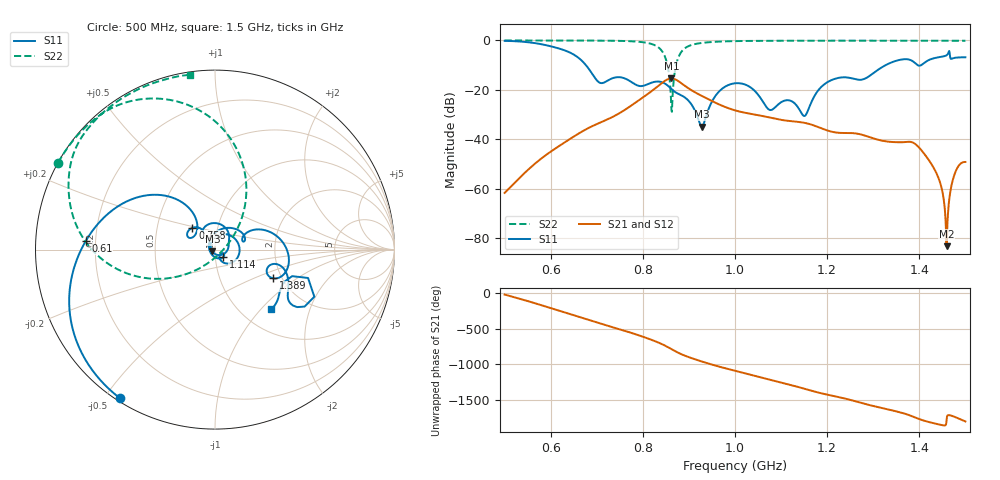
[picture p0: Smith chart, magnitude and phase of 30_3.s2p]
! TOUCHSTONE file generated by CST MICROWAVE STUDIO
! Date and time: Fri Oct  2 16:36:13 2020
! Project name: Scenario_1_Free_Space_out_of_line.cst
! Parameters = {Lambda=346.42; Step_1=17.321; dy1=-155.249; dx1=520; L_HA=400; MT=2.54; Rad_Dielectric=30; Rad_Lower=7.3; Rad_Upper=30; a_HA=580; a_WG=246; b_HA=500; b_WG=121; c_HA=0; c_WG=187; d_feed=85; h_feed=15; h_lower=18; h_upper=40}
! Header version: 2018
! Port assignment regex: !\s*Touchstone port\s*([0-9]+)\s*=\s*(CST MWS port|CST DS port)\s*([0-9]+|Zmin|Zmax)\s*\(\"(.*)\"\)(\s*mode\s*([0-9]+))?.*
! Touchstone port assignment:
! Touchstone port 1 = CST MWS port 1 ("")
! Touchstone port 2 = CST MWS port 2 ("")
# GHz S DB R 50
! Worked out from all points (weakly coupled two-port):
!   1003 points, 500 MHz to 1.5 GHz, reference 50 ohm
!   highest |S21| = -15.35 dB at 862 MHz (marker M1); lowest = -83.1 dB at 1.459 GHz (marker M2)
!   lowest |S11| = -34.8 dB at 928 MHz (marker M3), VSWR 1.04, Z = 48.5 - j1.02 ohm
!   |S11| at or under -10 dB: 676.5 MHz to 1.327 GHz (650.2 MHz wide, 64.9 % of centre); 1.397 GHz to 1.404 GHz (7.266 MHz wide, 0.519 % of centre)
!   |S22| runs from -28.8 to 0.0 dB; largest |S21 - S12| = 1.6e-05
!   S11 on the Smith chart (normalised r, x): 500 MHz: 0.01, -0.55; 610 MHz: 0.16, +0.03; 758 MHz: 0.76, +0.19; 1.114 GHz: 1.09, -0.09; 1.389 GHz: 1.80, -0.66; 1.5 GHz: 1.36, -1.14
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0.5  -0.15 -122.4  -61.59 -22.0  -61.59 -22.0  -0.01 151.1
0.61  -2.83 176.2  -43.67 127.1  -43.67 127.1  -0.02 143.3
0.667  -8.09 131.2  -36.91 12.1  -36.91 12.1  -0.04 138.4
0.707  -17.12 138.9  -33.22 -70.3  -33.22 -70.3  -0.08 134.1
0.758  -15.16 136.2  -28.40 -167.5  -28.40 -167.5  -0.21 126.1
0.834  -16.61 90.3  -18.28 21.7  -18.28 21.7  -2.83 90.6
0.85  -17.67 60.4  -16.07 -27.2  -16.07 -27.2  -7.60 65.5
0.862  -19.61 40.9  -15.35 -70.2  -15.35 -70.2  -27.90 -11.0
0.882  -22.03 15.8  -17.07 -137.4  -17.07 -137.4  -5.06 -168.9
0.928  -34.80 -144.7  -22.41 115.7  -22.41 115.7  -1.01 156.5
0.96  -21.78 78.0  -25.38 53.7  -25.38 53.7  -0.51 147.9
1  -17.31 5.9  -28.24 -14.3  -28.24 -14.3  -0.27 140.8
1.075  -28.04 -44.4  -31.15 -139.9  -31.15 -139.9  -0.15 132.2
1.114  -24.13 -40.8  -32.45 156.4  -32.45 156.4  -0.12 128.7
1.15  -30.52 -153.2  -33.26 93.7  -33.26 93.7  -0.11 125.7
1.167  -24.43 118.0  -34.08 62.6  -34.08 62.6  -0.10 124.4
1.334  -9.33 14.4  -40.91 158.9  -40.91 158.9  -0.09 111.6
1.389  -8.86 -26.3  -41.56 52.1  -41.56 52.1  -0.10 107.4
1.439  -6.89 -25.2  -54.38 -44.9  -54.38 -44.9  -0.11 103.4
1.459  -6.00 -34.9  -83.11 -6.1  -83.02 -5.2  -0.12 101.7
1.476  -7.05 -37.4  -54.33 58.5  -54.33 58.2  -0.12 100.2
1.5  -6.79 -46.7  -49.09 -7.8  -49.13 -7.9  -0.14 98.1
